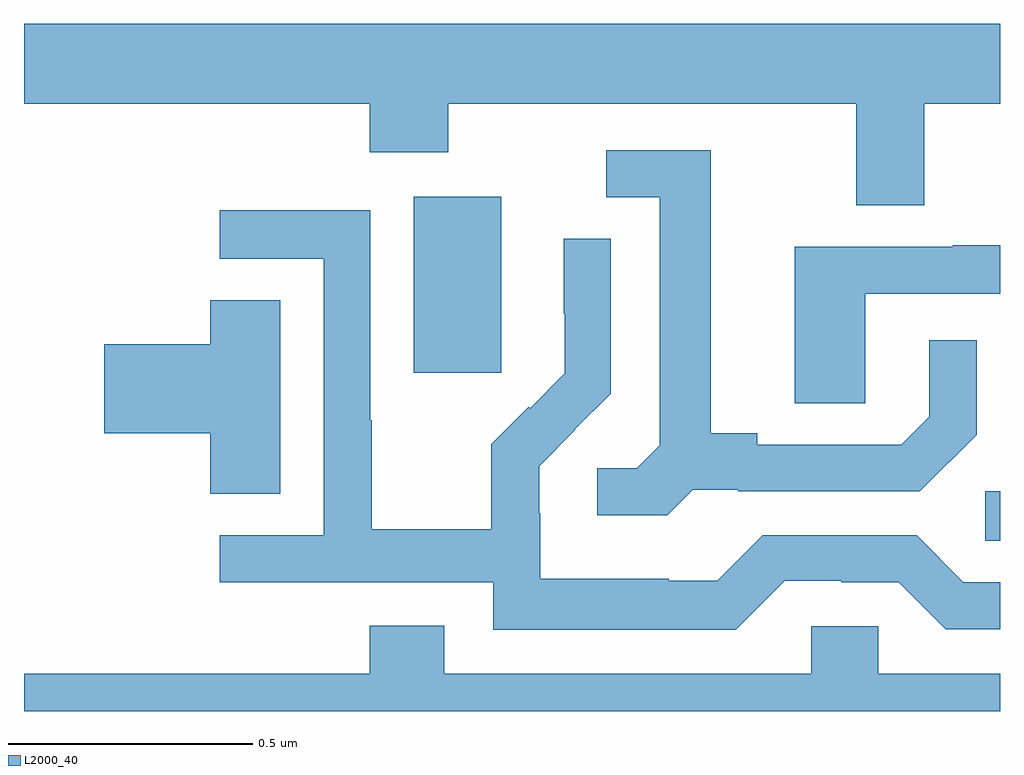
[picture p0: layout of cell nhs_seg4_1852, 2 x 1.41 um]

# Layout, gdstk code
import gdstk
lib = gdstk.Library(unit=1e-6, precision=1e-09)
def R(c, l, rs):  # rectangles x0, y0, x1, y1
    for r in rs: c.add(gdstk.rectangle(r[:2], r[2:], *l))
def P(c, l, *ps):  # polygons
    for p in ps: c.add(gdstk.Polygon(p, *l))
L2000_40 = (2000, 40)

nhs_seg4_1852 = lib.new_cell('nhs_seg4_1852')
R(nhs_seg4_1852, L2000_40, [(134.97,805.249,135,805.35), (133.799,805.593,133.978,805.954)])
P(nhs_seg4_1852, L2000_40, [(134.845,806.144),(135,806.144),(135,806.308),(133,806.308),(133,806.144),(133.709,806.144),(133.709,806.045),(133.869,806.045),(133.869,806.144),(134.705,806.144),(134.705,805.936),(134.845,805.936)],
  [(134.37,805.353),(134.464,805.353),(134.464,805.35),(134.836,805.35),(134.952,805.466),(134.952,805.66),(134.855,805.66),(134.855,805.503),(134.798,805.446),(134.503,805.446),(134.503,805.469),(134.407,805.469),(134.407,806.049),(134.193,806.049),(134.193,805.953),(134.303,805.953),(134.303,805.445),(134.256,805.398),(134.175,805.398),(134.175,805.301),(134.318,805.301)],
  [(134.559,805.167),(134.675,805.167),(134.675,805.164),(134.793,805.164),(134.889,805.068),(135,805.068),(135,805.164),(134.925,805.164),(134.829,805.26),(134.514,805.26),(134.421,805.167),(134.321,805.167),(134.321,805.171),(134.058,805.171),(134.058,805.305),(134.056,805.305),(134.056,805.402),(134.13,805.476),(134.129,805.477),(134.202,805.55),(134.202,805.868),(134.106,805.868),(134.106,805.714),(134.108,805.714),(134.108,805.592),(134.037,805.521),(134.034,805.524),(133.957,805.447),(133.957,805.273),(133.713,805.273),(133.713,805.496),(133.71,805.496),(133.71,805.926),(133.401,805.926),(133.401,805.827),(133.614,805.827),(133.614,805.26),(133.401,805.26),(133.401,805.164),(133.962,805.164),(133.962,805.067),(134.459,805.067)],
  [(134.724,805.755),(135,805.755),(135,805.855),(134.903,805.855),(134.903,805.851),(134.579,805.851),(134.579,805.531),(134.724,805.531)],
  [(133.525,805.742),(133.382,805.742),(133.382,805.652),(133.164,805.652),(133.164,805.469),(133.382,805.469),(133.382,805.345),(133.525,805.345)],
  [(135,804.976),(134.751,804.976),(134.751,805.074),(134.613,805.074),(134.613,804.976),(133.861,804.976),(133.861,805.075),(133.709,805.075),(133.709,804.976),(133,804.976),(133,804.9),(135,804.9)])

lib.write_gds('nhs_seg4_1852.gds')
